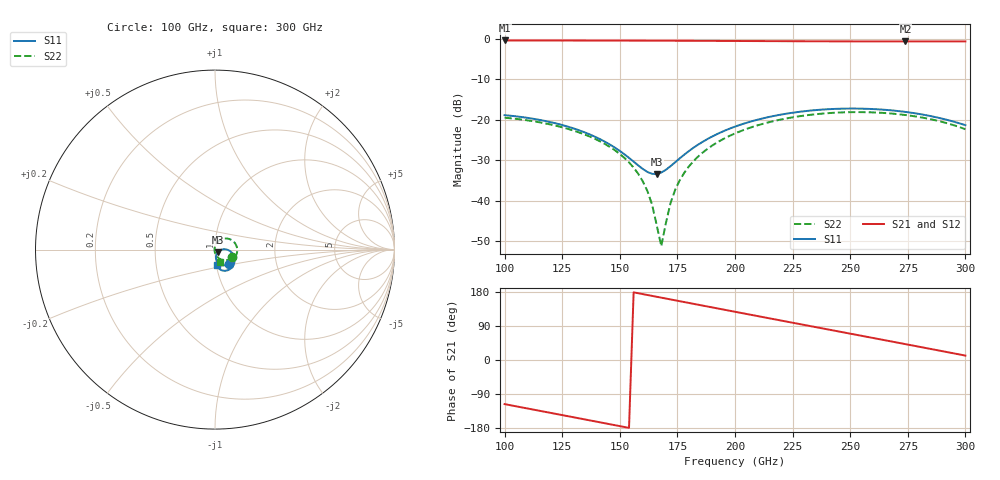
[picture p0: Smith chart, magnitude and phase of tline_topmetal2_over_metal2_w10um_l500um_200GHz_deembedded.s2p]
! Created with skrf 2.0.1 (http://scikit-rf.org).
# GHz S DB R 50.0
!freq dBS11 angS11 dBS21 angS21 dBS12 angS12 dBS22 angS22
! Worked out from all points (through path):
!   101 points, 100 GHz to 300 GHz, reference 50 ohm
!   highest |S21| = -0.42 dB at 100 GHz (marker M1); lowest = -0.7 dB at 274 GHz (marker M2)
!   group delay of S21, straight-line fit = 3.22 ps
!   lowest |S11| = -33.4 dB at 166 GHz (marker M3), VSWR 1.04, Z = 51.7 - j1.33 ohm
!   |S11| at or under -10 dB: start of sweep to end of sweep
!   |S22| runs from -51.3 to -18.1 dB; largest |S21 - S12| = 1.1e-14
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100  -18.88 -45.7  -0.42 -116.4  -0.42 -116.4  -19.52 -23.3
118  -20.37 -64.2  -0.43 -137.3  -0.43 -137.3  -20.96 -40.8
134  -22.97 -78.0  -0.44 -155.9  -0.44 -155.9  -23.51 -57.1
146  -26.25 -83.3  -0.45 -169.8  -0.45 -169.8  -26.85 -70.4
156  -30.37 -76.2  -0.46 178.5  -0.46 178.5  -31.85 -83.3
162  -32.93 -57.4  -0.47 171.5  -0.47 171.5  -37.67 -95.5
164  -33.39 -47.8  -0.47 169.2  -0.47 169.2  -40.99 -103.3
166  -33.44 -37.3  -0.47 166.9  -0.47 166.9  -46.03 -120.7
168  -33.08 -27.2  -0.48 164.5  -0.48 164.5  -51.27 177.1
172  -31.50 -11.6  -0.48 159.9  -0.48 159.9  -40.65 103.2
174  -30.54 -6.5  -0.49 157.5  -0.49 157.5  -37.39 95.6
178  -28.64 -0.5  -0.49 152.9  -0.49 152.9  -33.10 86.8
182  -26.93 1.9  -0.50 148.2  -0.50 148.2  -30.25 80.5
188  -24.80 1.7  -0.52 141.2  -0.52 141.2  -27.23 72.5
200  -21.72 -4.8  -0.54 127.3  -0.54 127.3  -23.40 58.2
218  -18.95 -19.8  -0.59 106.4  -0.59 106.4  -20.19 37.6
234  -17.68 -34.5  -0.62 88.0  -0.62 88.0  -18.72 19.2
250  -17.25 -49.3  -0.64 69.5  -0.64 69.5  -18.15 0.4
268  -17.70 -64.8  -0.66 48.8  -0.66 48.8  -18.49 -21.6
274  -18.08 -69.5  -0.66 41.8  -0.66 41.8  -18.85 -29.3
288  -19.49 -78.7  -0.65 25.6  -0.65 25.6  -20.28 -48.5
300  -21.36 -82.7  -0.65 11.6  -0.65 11.6  -22.37 -67.3
